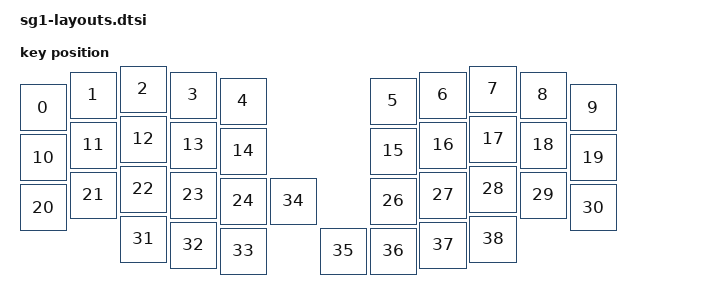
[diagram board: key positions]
#include <physical_layouts.dtsi>

/ {
    physical_layout0: physical_layout_0 {
        compatible = "zmk,physical-layout";
        display-name = "5 Column";

        //kscan = <&kscan0>;
        transform = <&matrix_transform0>;

        keys  //                     w   h    x    y     rot    rx    ry
            = <&key_physical_attrs 100 100   0      37   0   0   0>   //0
            , <&key_physical_attrs 100 100   100    12   0   0   0>   //1
            , <&key_physical_attrs 100 100   200     0   0   0   0>   //2
            , <&key_physical_attrs 100 100   300    12   0   0   0>   //3
            , <&key_physical_attrs 100 100   400    24   0   0   0>   //4
            , <&key_physical_attrs 100 100   700    24   0   0   0>   //5
            , <&key_physical_attrs 100 100   800    12   0   0   0>   //6
            , <&key_physical_attrs 100 100   900     0   0   0   0>   //7
            , <&key_physical_attrs 100 100   1000   12   0   0   0>   //8
            , <&key_physical_attrs 100 100   1100   37   0   0   0>   //9
            , <&key_physical_attrs 100 100   0     137   0   0   0>   //10
            , <&key_physical_attrs 100 100   100   112   0   0   0>   //11
            , <&key_physical_attrs 100 100   200   100   0   0   0>   //12
            , <&key_physical_attrs 100 100   300   112   0   0   0>   //13
            , <&key_physical_attrs 100 100   400   124   0   0   0>   //14
            , <&key_physical_attrs 100 100   700   124   0   0   0>   //15
            , <&key_physical_attrs 100 100   800   112   0   0   0>   //16
            , <&key_physical_attrs 100 100   900   100   0   0   0>   //17
            , <&key_physical_attrs 100 100   1000  112   0   0   0>   //18
            , <&key_physical_attrs 100 100   1100  137   0   0   0>   //19
            , <&key_physical_attrs 100 100   0     237   0   0   0>   //20
            , <&key_physical_attrs 100 100   100   212   0   0   0>   //21
            , <&key_physical_attrs 100 100   200   200   0   0   0>   //22
            , <&key_physical_attrs 100 100   300   212   0   0   0>   //23
            , <&key_physical_attrs 100 100   400   224   0   0   0>   //24
            , <&key_physical_attrs 100 100   500   224   0   0   0>   //25
            , <&key_physical_attrs 100 100   700   224   0   0   0>   //26
            , <&key_physical_attrs 100 100   800   212   0   0   0>   //27
            , <&key_physical_attrs 100 100   900   200   0   0   0>   //28
            , <&key_physical_attrs 100 100   1000  212   0   0   0>   //29
            , <&key_physical_attrs 100 100   1100  237   0   0   0>   //30
            , <&key_physical_attrs 100 100   200   300   0   0   0>   //31
            , <&key_physical_attrs 100 100   300   312   0   0   0>   //32
            , <&key_physical_attrs 100 100   400   324   0   0   0>   //33
            , <&key_physical_attrs 100 100   500   224   0   0   0>   //34
            , <&key_physical_attrs 100 100   600   324   0   0   0>   //35
            , <&key_physical_attrs 100 100   700   324   0   0   0>   //36
            , <&key_physical_attrs 100 100   800   312   0   0   0>   //37
            , <&key_physical_attrs 100 100   900   300   0   0   0>   //38
            ;
    };
};
